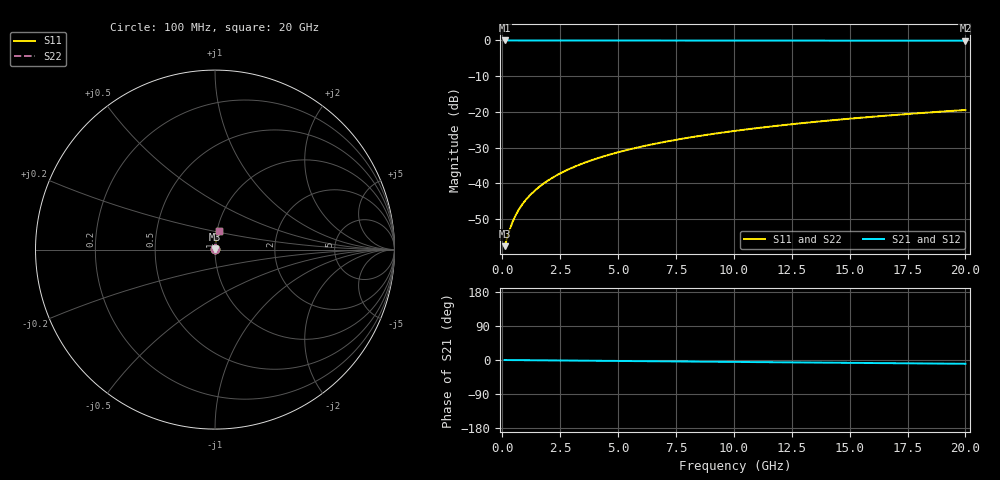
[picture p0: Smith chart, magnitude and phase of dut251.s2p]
! Touchstone file exported from HFSS 2026.1.0
!  File:  C:/ffzhzh/LocalFiles/Ansys_Project_Files/temp_train_BSMRDL_251_1782988613_41620.aedt
!  Generated:  06:38:05 PM Jul  2, 2026
!  Design:  BSMRDL
!  Project:  temp_train_BSMRDL_251_1782988613_41620
! Variables:
!  h_bsmrdl = 2.15um
!  h_ox = 20um
!  h_rdl = 5um
!  h_sub = 80um
!  h_tmrdl = 5um
!  h_tsv = 80um
!  h_via = 3um
!  l_bsmrdl = 104.52um
!  l_sub = 504.52um
!  l_tmrdl = 200um
!  m_sub = 200um
!  pitch = 44.88um
!  r_tsv = 6um
!  s_tmrdl = 10um
!  w_bsmrdl = 22.55um
!  w_sub = 500um
!  w_tmrdl = 12um
!  x_tsv_center1 = 206um
!  x_tsv_center2 = 333.07um
!  x_tsv_center3 = 545.07um
!  x_tsv_center4 = 672.14um
!  x_tsv_center5 = 884.14um
!  x_tsv_center6 = 1011.21um
# GHz S MA R 50.000000
! Terminal data exported
! Port[1] = BSM_RDL1_1_T1
! Port[2] = BSM_RDL1_1_T2
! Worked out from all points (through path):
!   200 points, 100 MHz to 20 GHz, reference 50 ohm
!   highest |S21| = -0.01 dB at 100 MHz (marker M1); lowest = -0.1 dB at 20 GHz (marker M2)
!   group delay of S21, straight-line fit = 1.39 ps
!   lowest |S11| = -57.5 dB at 100 MHz (marker M3), VSWR 1.00, Z = 50.1 + j0.0599 ohm
!   |S11| at or under -10 dB: start of sweep to end of sweep
!   |S22| runs from -57.5 to -19.5 dB; largest |S21 - S12| = 3.1e-15
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0.1  0.001328 26.8  0.9988 -0.1  0.9988 -0.1  0.001327 26.8
! Gamma 0 0 0 0
! Port Impedance 50 0 50 0
0.3  0.002163 55.0  0.9988 -0.2  0.9988 -0.2  0.002163 55.0
0.4  0.002669 61.3  0.9987 -0.2  0.9987 -0.2  0.002669 61.3
0.5  0.003188 65.5  0.9987 -0.3  0.9987 -0.3  0.003188 65.5
0.6  0.003712 68.5  0.9987 -0.3  0.9987 -0.3  0.003712 68.5
0.7  0.004237 70.7  0.9986 -0.4  0.9986 -0.4  0.004237 70.7
0.9  0.005288 73.9  0.9986 -0.5  0.9986 -0.5  0.005288 73.9
1.2  0.006868 77.0  0.9985 -0.6  0.9985 -0.6  0.006868 77.0
1.4  0.007927 78.4  0.9985 -0.7  0.9985 -0.7  0.007927 78.4
1.7  0.009522 79.9  0.9984 -0.9  0.9984 -0.9  0.009522 79.9
2.2  0.0122 81.5  0.9984 -1.1  0.9984 -1.1  0.0122 81.5
2.8  0.01542 82.6  0.9983 -1.4  0.9983 -1.4  0.01542 82.6
3.5  0.01919 83.3  0.9982 -1.8  0.9982 -1.8  0.01919 83.3
4.2  0.02297 83.7  0.9981 -2.1  0.9981 -2.1  0.02297 83.7
5  0.02729 83.8  0.9979 -2.5  0.9979 -2.5  0.02729 83.8
5.9  0.03214 83.8  0.9977 -3.0  0.9977 -3.0  0.03214 83.8
6.8  0.03698 83.7  0.9974 -3.4  0.9974 -3.4  0.03698 83.7
8.3  0.04503 83.3  0.997 -4.2  0.997 -4.2  0.04503 83.3
10.1  0.05464 82.6  0.9963 -5.1  0.9963 -5.1  0.05464 82.6
13.4  0.07211 81.3  0.9949 -6.7  0.9949 -6.7  0.07211 81.3
16.7  0.08938 79.8  0.9932 -8.4  0.9932 -8.4  0.08938 79.8
20  0.1064 78.3  0.9911 -10.0  0.9911 -10.0  0.1064 78.3
